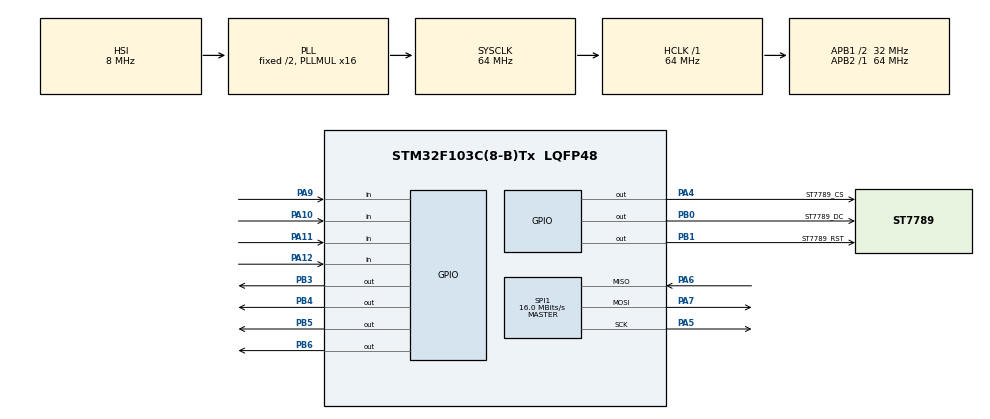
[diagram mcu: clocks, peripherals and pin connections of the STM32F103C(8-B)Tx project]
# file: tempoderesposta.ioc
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Mcu.Family=STM32F1
Mcu.Name=STM32F103C(8-B)Tx
Mcu.Package=LQFP48
NVIC.PriorityGroup=NVIC_PRIORITYGROUP_4
PA10.Signal=GPIO_Input
PA11.Signal=GPIO_Input
PA12.Signal=GPIO_Input
PA13.Mode=Serial_Wire
PA13.Signal=SYS_JTMS-SWDIO
PA14.Mode=Serial_Wire
PA14.Signal=SYS_JTCK-SWCLK
PA4.GPIO_Label=ST7789_CS
PA4.Signal=GPIO_Output
PA5.Mode=Full_Duplex_Master
PA5.Signal=SPI1_SCK
PA6.Mode=Full_Duplex_Master
PA6.Signal=SPI1_MISO
PA7.Mode=Full_Duplex_Master
PA7.Signal=SPI1_MOSI
PA9.Signal=GPIO_Input
PB0.GPIO_Label=ST7789_DC
PB0.Signal=GPIO_Output
PB1.GPIO_Label=ST7789_RST
PB1.Signal=GPIO_Output
PB3.Signal=GPIO_Output
PB4.Signal=GPIO_Output
PB5.Signal=GPIO_Output
PB6.Signal=GPIO_Output
ProjectManager.HeapSize=0x200
ProjectManager.StackSize=0x400
ProjectManager.TargetToolchain=STM32CubeIDE
RCC.AHBFreq_Value=64000000
RCC.APB1CLKDivider=RCC_HCLK_DIV2
RCC.APB1Freq_Value=32000000
RCC.APB1TimFreq_Value=64000000
RCC.APB2Freq_Value=64000000
RCC.APB2TimFreq_Value=64000000
RCC.HCLKFreq_Value=64000000
RCC.PLLMUL=RCC_PLL_MUL16
RCC.SYSCLKFreq_VALUE=64000000
RCC.SYSCLKSource=RCC_SYSCLKSOURCE_PLLCLK
RCC.USBFreq_Value=64000000
SPI1.BaudRatePrescaler=SPI_BAUDRATEPRESCALER_4
SPI1.CLKPolarity=SPI_POLARITY_HIGH
SPI1.CalculateBaudRate=16.0 MBits/s
SPI1.Direction=SPI_DIRECTION_2LINES
SPI1.Mode=SPI_MODE_MASTER
SPI1.VirtualType=VM_MASTER
board=custom

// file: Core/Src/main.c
/* USER CODE BEGIN Header */
/**
  ******************************************************************************
  * @file           : main.c
  * @brief          : Main program body
  ******************************************************************************
  * @attention
  *
  * <h2><center>&copy; Copyright (c) 2025 STMicroelectronics.
  * All rights reserved.</center></h2>
  *
  * This software component is licensed by ST under BSD 3-Clause license,
  * the "License"; You may not use this file except in compliance with the
  * License. You may obtain a copy of the License at:
  *                        opensource.org/licenses/BSD-3-Clause
  *
  ******************************************************************************
  */
/* USER CODE END Header */
#include "main.h"

/* USER CODE BEGIN Includes */
#include "st7789\st7789.h"
/* USER CODE END Includes */

SPI_HandleTypeDef hspi1;

/* USER CODE BEGIN PV */
#define ICONE_HEIGHT 24
#define ICONE_WIDTH 24

// array size is 1152
static const uint16_t icone[][24*24/2]  = {
  0xffff, 0xffff, 0xffff, 0xffff, 0xffff, 0xffff, 0xffff, 0xffff, 0xffff, 0xffff, 0x0000, 0x0000, 0x0000, 0x0000, 0x0000, 0xffff, 0xffff, 0xffff, 0xffff, 0xffff, 0xffff, 0xffff, 0xffff, 0xffff,
  0xffff, 0xffff, 0xffff, 0xffff, 0xffff, 0xffff, 0xffff, 0xffff, 0xffff, 0x0000, 0x0000, 0x0000, 0x0000, 0x0000, 0x0000, 0x0000, 0xffff, 0xffff, 0xffff, 0xffff, 0xffff, 0xffff, 0xffff, 0xffff,
  0xffff, 0xffff, 0xffff, 0xffff, 0xffff, 0xffff, 0xffff, 0xffff, 0xffff, 0x0000, 0x0000, 0x0000, 0x0000, 0x0000, 0x0000, 0x0000, 0x0000, 0xffff, 0xffff, 0xffff, 0xffff, 0xffff, 0xffff, 0xffff,
  0xffff, 0xffff, 0xffff, 0xffff, 0xffff, 0xffff, 0xffff, 0xffff, 0x0000, 0x0000, 0x0000, 0x0000, 0x0000, 0x0000, 0x0000, 0x0000, 0x0000, 0xffff, 0xffff, 0xffff, 0xffff, 0xffff, 0xffff, 0xffff,
  0xffff, 0xffff, 0xffff, 0xffff, 0xffff, 0xffff, 0xffff, 0x0000, 0x0000, 0x0000, 0x0000, 0x0000, 0x0000, 0x0000, 0x0000, 0x0000, 0x0000, 0x0000, 0xffff, 0xffff, 0xffff, 0xffff, 0xffff, 0xffff,
  0xffff, 0xffff, 0xffff, 0xffff, 0xffff, 0xffff, 0xffff, 0x0000, 0x0000, 0x0000, 0x0000, 0x18c6, 0x18c6, 0x0000, 0x0000, 0x0000, 0x0000, 0x0000, 0xffff, 0xffff, 0xffff, 0xffff, 0xffff, 0xffff,
  0xffff, 0xffff, 0xffff, 0xffff, 0xffff, 0xffff, 0x0000, 0x0000, 0x0000, 0x0000, 0x18c6, 0x18c6, 0x18c6, 0x18c6, 0x0000, 0x0000, 0x0000, 0x0000, 0x0000, 0xffff, 0xffff, 0xffff, 0xffff, 0xffff,
  0xffff, 0xffff, 0xffff, 0xffff, 0xffff, 0xffff, 0x0000, 0x0000, 0x0000, 0x0000, 0x18c6, 0x18c6, 0x18c6, 0x18c6, 0x18c6, 0x0000, 0x0000, 0x0000, 0x0000, 0xffff, 0xffff, 0xffff, 0xffff, 0xffff,
  0xffff, 0xffff, 0xffff, 0xffff, 0xffff, 0x0000, 0x0000, 0x0000, 0x0000, 0x18c6, 0x18c6, 0x18c6, 0x18c6, 0x18c6, 0x18c6, 0x0000, 0x0000, 0x0000, 0x0000, 0x0000, 0xffff, 0xffff, 0xffff, 0xffff,
  0xffff, 0xffff, 0xffff, 0xffff, 0xffff, 0x0000, 0x0000, 0x0000, 0x0000, 0x18c6, 0x18c6, 0x18c6, 0x18c6, 0x18c6, 0x18c6, 0x8925, 0x8925, 0x0000, 0x0000, 0x0000, 0x0000, 0xffff, 0xffff, 0xffff,
  0xffff, 0xffff, 0xffff, 0xffff, 0x0000, 0x0000, 0x0000, 0x0000, 0x0000, 0x18c6, 0x18c6, 0x18c6, 0x18c6, 0x18c6, 0x8925, 0x8925, 0x8925, 0x8925, 0x0000, 0x0000, 0x0000, 0xffff, 0xffff, 0xffff,
  0xffff, 0xffff, 0xffff, 0x0000, 0x0000, 0x0000, 0x0000, 0x0000, 0x0000, 0x18c6, 0x18c6, 0x18c6, 0x18c6, 0x18c6, 0x8925, 0x8925, 0x8925, 0x8925, 0x8925, 0x0000, 0x0000, 0x0000, 0xffff, 0xffff,
  0xffff, 0xffff, 0xffff, 0x0000, 0x0000, 0x0000, 0x0000, 0x0000, 0x0000, 0x18c6, 0x18c6, 0x18c6, 0x18c6, 0x8925, 0x8925, 0x8925, 0x8925, 0x8925, 0x8925, 0x0000, 0x0000, 0x0000, 0xffff, 0xffff,
  0xffff, 0xffff, 0x0000, 0x0000, 0x0000, 0x0000, 0x0000, 0x0000, 0xffff, 0x18c6, 0x18c6, 0x18c6, 0x18c6, 0x8925, 0x8925, 0x8925, 0x8925, 0x8925, 0x8925, 0x0000, 0x0000, 0x0000, 0x0000, 0xffff,
  0xffff, 0xffff, 0x0000, 0x0000, 0x0000, 0x0000, 0x0000, 0x18c6, 0x18c6, 0x18c6, 0x18c6, 0x18c6, 0x18c6, 0x8925, 0x8925, 0x8925, 0x8925, 0x8925, 0x8925, 0x0000, 0x0000, 0x0000, 0x0000, 0xffff,
  0xffff, 0x0000, 0x0000, 0x0000, 0x0000, 0x0000, 0x18c6, 0x18c6, 0x18c6, 0x18c6, 0x18c6, 0x18c6, 0x18c6, 0x8925, 0x8925, 0x8925, 0x8925, 0x8925, 0x8925, 0x0000, 0x0000, 0x0000, 0x0000, 0x0000,
  0xffff, 0x0000, 0x0000, 0x0000, 0x0000, 0x18c6, 0x18c6, 0x18c6, 0x18c6, 0x18c6, 0x18c6, 0x80ff, 0x80ff, 0x8925, 0x8925, 0x8925, 0x8925, 0x8925, 0x8925, 0x0000, 0x0000, 0x0000, 0x0000, 0x0000,
  0x0000, 0x0000, 0x0000, 0x0000, 0x0000, 0x18c6, 0x18c6, 0x18c6, 0x18c6, 0x18c6, 0x80ff, 0x80ff, 0x80ff, 0x80ff, 0x8925, 0x8925, 0x8925, 0x8925, 0x8925, 0x0000, 0x0000, 0x0000, 0x0000, 0x0000,
  0x0000, 0x0000, 0x0000, 0x0000, 0x0000, 0x18c6, 0x18c6, 0x18c6, 0x18c6, 0x80ff, 0x80ff, 0x80ff, 0x80ff, 0x80ff, 0x80ff, 0x8925, 0x8925, 0x8925, 0xffff, 0xffff, 0x0000, 0x0000, 0x0000, 0x0000,
  0x0000, 0x0000, 0x0000, 0x0000, 0x0000, 0x0000, 0x18c6, 0x18c6, 0x18c6, 0x80ff, 0x80ff, 0x80ff, 0x80ff, 0x80ff, 0x80ff, 0x0000, 0x0000, 0x0000, 0x0000, 0x0000, 0x0000, 0x0000, 0x0000, 0x0000,
  0x0000, 0x0000, 0x0000, 0x0000, 0x0000, 0x0000, 0x0000, 0x0000, 0x0000, 0x80ff, 0x80ff, 0x80ff, 0x80ff, 0x80ff, 0x80ff, 0x0000, 0x0000, 0x0000, 0x0000, 0x0000, 0x0000, 0x0000, 0x0000, 0x0000,
  0x0000, 0x0000, 0x0000, 0x0000, 0x0000, 0x0000, 0x0000, 0x0000, 0x0000, 0x0000, 0x80ff, 0x80ff, 0x80ff, 0x80ff, 0x0000, 0x0000, 0x0000, 0x0000, 0x0000, 0x0000, 0x0000, 0x0000, 0x0000, 0x0000,
  0x0000, 0x0000, 0x0000, 0x0000, 0x0000, 0x0000, 0x0000, 0x0000, 0x0000, 0x0000, 0x0000, 0x0000, 0x0000, 0x0000, 0x0000, 0x0000, 0x0000, 0x0000, 0x0000, 0x0000, 0x0000, 0x0000, 0x0000, 0x0000,
  0x0000, 0x0000, 0x0000, 0x0000, 0x0000, 0x0000, 0x0000, 0x0000, 0x0000, 0x0000, 0x0000, 0x0000, 0x0000, 0x0000, 0x0000, 0x0000, 0x0000, 0x0000, 0x0000, 0x0000, 0x0000, 0x0000, 0x0000, 0x0000
};
/* USER CODE END PV */

void SystemClock_Config(void);
static void MX_GPIO_Init(void);
static void MX_SPI1_Init(void);

int main(void)
{

  /* MCU Configuration--------------------------------------------------------*/

  /* Reset of all peripherals, Initializes the Flash interface and the Systick. */
  HAL_Init();

  /* Configure the system clock */
  SystemClock_Config();

  /* Initialize all configured peripherals */
  MX_GPIO_Init();
  MX_SPI1_Init();
  /* USER CODE BEGIN 2 */
  ST7789_Init();
  ST7789_Fill_Color(GREEN);
  /* USER CODE END 2 */

  /* Infinite loop */
  /* USER CODE BEGIN WHILE */
	void SysTick_Init(void){
		SysTick->LOAD = 0xFFFFFF;
		SysTick->VAL = 0;
		SysTick->CTRL = SysTick_CTRL_ENABLE_Msk| SysTick_CTRL_CLKSOURCE_Msk;
	}
	uint32_t Get_Time(void){
		return SysTick->VAL;
	}
	SysTick_Init();
	uint32_t start = Get_Time();
	ST7789_DrawImage(50, 50, 24, 24, icone);
	uint32_t fim = Get_Time();
	uint32_t tempo =start-fim;

	char str[20];
	itoa(tempo,str,10);
	ST7789_WriteString(100, 100,str, Font_16x26, WHITE, GREEN);

  while (1)
  {
    /* USER CODE END WHILE */

  }
}

void SystemClock_Config(void)
{
  RCC_OscInitTypeDef RCC_OscInitStruct = {0};
  RCC_ClkInitTypeDef RCC_ClkInitStruct = {0};

  /** Initializes the RCC Oscillators according to the specified parameters
  * in the RCC_OscInitTypeDef structure.
  */
  RCC_OscInitStruct.OscillatorType = RCC_OSCILLATORTYPE_HSI;
  RCC_OscInitStruct.HSIState = RCC_HSI_ON;
  RCC_OscInitStruct.HSICalibrationValue = RCC_HSICALIBRATION_DEFAULT;
  RCC_OscInitStruct.PLL.PLLState = RCC_PLL_ON;
  RCC_OscInitStruct.PLL.PLLSource = RCC_PLLSOURCE_HSI_DIV2;
  RCC_OscInitStruct.PLL.PLLMUL = RCC_PLL_MUL16;
  if (HAL_RCC_OscConfig(&RCC_OscInitStruct) != HAL_OK)
  {
    Error_Handler();
  }
  /** Initializes the CPU, AHB and APB buses clocks
  */
  RCC_ClkInitStruct.ClockType = RCC_CLOCKTYPE_HCLK|RCC_CLOCKTYPE_SYSCLK
                              |RCC_CLOCKTYPE_PCLK1|RCC_CLOCKTYPE_PCLK2;
  RCC_ClkInitStruct.SYSCLKSource = RCC_SYSCLKSOURCE_PLLCLK;
  RCC_ClkInitStruct.AHBCLKDivider = RCC_SYSCLK_DIV1;
  RCC_ClkInitStruct.APB1CLKDivider = RCC_HCLK_DIV2;
  RCC_ClkInitStruct.APB2CLKDivider = RCC_HCLK_DIV1;

  if (HAL_RCC_ClockConfig(&RCC_ClkInitStruct, FLASH_LATENCY_2) != HAL_OK)
  {
    Error_Handler();
  }
}

static void MX_SPI1_Init(void)
{

  /* SPI1 parameter configuration*/
  hspi1.Instance = SPI1;
  hspi1.Init.Mode = SPI_MODE_MASTER;
  hspi1.Init.Direction = SPI_DIRECTION_2LINES;
  hspi1.Init.DataSize = SPI_DATASIZE_8BIT;
  hspi1.Init.CLKPolarity = SPI_POLARITY_HIGH;
  hspi1.Init.CLKPhase = SPI_PHASE_1EDGE;
  hspi1.Init.NSS = SPI_NSS_SOFT;
  hspi1.Init.BaudRatePrescaler = SPI_BAUDRATEPRESCALER_4;
  hspi1.Init.FirstBit = SPI_FIRSTBIT_MSB;
  hspi1.Init.TIMode = SPI_TIMODE_DISABLE;
  hspi1.Init.CRCCalculation = SPI_CRCCALCULATION_DISABLE;
  hspi1.Init.CRCPolynomial = 10;
  if (HAL_SPI_Init(&hspi1) != HAL_OK)
  {
    Error_Handler();
  }

}

static void MX_GPIO_Init(void)
{
  GPIO_InitTypeDef GPIO_InitStruct = {0};

  /* GPIO Ports Clock Enable */
  __HAL_RCC_GPIOA_CLK_ENABLE();
  __HAL_RCC_GPIOB_CLK_ENABLE();

  /*Configure GPIO pin Output Level */
  HAL_GPIO_WritePin(ST7789_CS_GPIO_Port, ST7789_CS_Pin, GPIO_PIN_RESET);

  /*Configure GPIO pin Output Level */
  HAL_GPIO_WritePin(GPIOB, ST7789_DC_Pin|ST7789_RST_Pin|GPIO_PIN_3|GPIO_PIN_4
                          |GPIO_PIN_5|GPIO_PIN_6, GPIO_PIN_RESET);

  /*Configure GPIO pin : ST7789_CS_Pin */
  GPIO_InitStruct.Pin = ST7789_CS_Pin;
  GPIO_InitStruct.Mode = GPIO_MODE_OUTPUT_PP;
  GPIO_InitStruct.Pull = GPIO_NOPULL;
  GPIO_InitStruct.Speed = GPIO_SPEED_FREQ_LOW;
  HAL_GPIO_Init(ST7789_CS_GPIO_Port, &GPIO_InitStruct);

  /*Configure GPIO pins : ST7789_DC_Pin ST7789_RST_Pin PB3 PB4
                           PB5 PB6 */
  GPIO_InitStruct.Pin = ST7789_DC_Pin|ST7789_RST_Pin|GPIO_PIN_3|GPIO_PIN_4
                          |GPIO_PIN_5|GPIO_PIN_6;
  GPIO_InitStruct.Mode = GPIO_MODE_OUTPUT_PP;
  GPIO_InitStruct.Pull = GPIO_NOPULL;
  GPIO_InitStruct.Speed = GPIO_SPEED_FREQ_LOW;
  HAL_GPIO_Init(GPIOB, &GPIO_InitStruct);

  /*Configure GPIO pins : PA9 PA10 PA11 PA12 */
  GPIO_InitStruct.Pin = GPIO_PIN_9|GPIO_PIN_10|GPIO_PIN_11|GPIO_PIN_12;
  GPIO_InitStruct.Mode = GPIO_MODE_INPUT;
  GPIO_InitStruct.Pull = GPIO_NOPULL;
  HAL_GPIO_Init(GPIOA, &GPIO_InitStruct);

}

void Error_Handler(void)
{
  __disable_irq();
  while (1)
  {
  }
}

/************************ (C) COPYRIGHT STMicroelectronics *****END OF FILE****/
